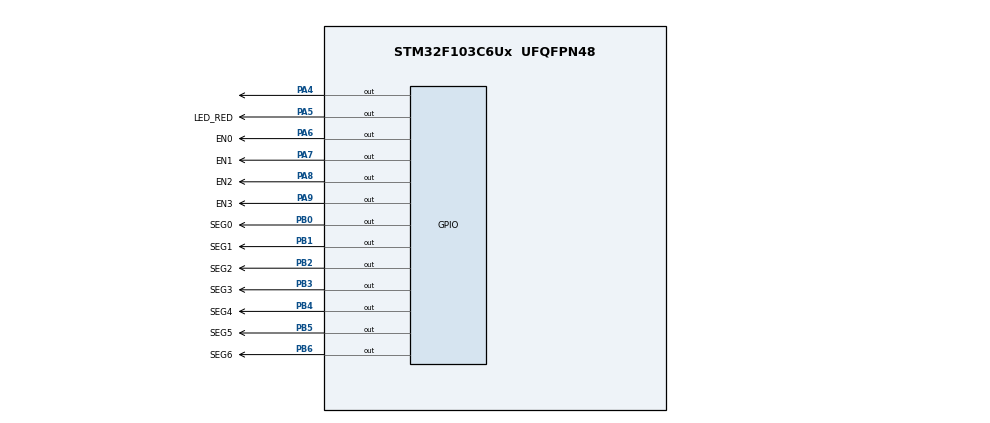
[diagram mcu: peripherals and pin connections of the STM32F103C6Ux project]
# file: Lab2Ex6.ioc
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Mcu.Family=STM32F1
Mcu.Name=STM32F103C6Ux
Mcu.Package=UFQFPN48
NVIC.PriorityGroup=NVIC_PRIORITYGROUP_4
NVIC.TIM2_IRQn=true\:0\:0\:false\:false\:true\:true\:true
PA4.Signal=GPIO_Output
PA5.GPIO_Label=LED_RED
PA5.Signal=GPIO_Output
PA6.GPIO_Label=EN0
PA6.Signal=GPIO_Output
PA7.GPIO_Label=EN1
PA7.Signal=GPIO_Output
PA8.GPIO_Label=EN2
PA8.Signal=GPIO_Output
PA9.GPIO_Label=EN3
PA9.Signal=GPIO_Output
PB0.GPIO_Label=SEG0
PB0.Signal=GPIO_Output
PB1.GPIO_Label=SEG1
PB1.Signal=GPIO_Output
PB2.GPIO_Label=SEG2
PB2.Signal=GPIO_Output
PB3.GPIO_Label=SEG3
PB3.Signal=GPIO_Output
PB4.GPIO_Label=SEG4
PB4.Signal=GPIO_Output
PB5.GPIO_Label=SEG5
PB5.Signal=GPIO_Output
PB6.GPIO_Label=SEG6
PB6.Signal=GPIO_Output
ProjectManager.HeapSize=0x200
ProjectManager.StackSize=0x400
ProjectManager.TargetToolchain=STM32CubeIDE
RCC.APB1Freq_Value=8000000
RCC.APB2Freq_Value=8000000
TIM2.Prescaler=7999
VP_SYS_VS_ND.Mode=No_Debug
VP_TIM2_VS_ClockSourceINT.Mode=Internal
board=custom

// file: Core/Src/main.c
/* USER CODE BEGIN Header */
/**
  ******************************************************************************
  * @file           : main.c
  * @brief          : Main program body
  ******************************************************************************
  * @attention
  *
  * <h2><center>&copy; Copyright (c) 2025 STMicroelectronics.
  * All rights reserved.</center></h2>
  *
  * This software component is licensed by ST under BSD 3-Clause license,
  * the "License"; You may not use this file except in compliance with the
  * License. You may obtain a copy of the License at:
  *                        opensource.org/licenses/BSD-3-Clause
  *
  ******************************************************************************
  */
/* USER CODE END Header */
#include "main.h"

TIM_HandleTypeDef htim2;

void SystemClock_Config(void);
static void MX_GPIO_Init(void);
static void MX_TIM2_Init(void);

/* USER CODE BEGIN 0 */

// 7SEG DISPLAY
void display7SEG(int num) {
	switch(num) {
		case 0:
			HAL_GPIO_WritePin(SEG0_GPIO_Port, SEG0_Pin, GPIO_PIN_RESET);
			HAL_GPIO_WritePin(SEG1_GPIO_Port, SEG1_Pin, GPIO_PIN_RESET);
			HAL_GPIO_WritePin(SEG2_GPIO_Port, SEG2_Pin, GPIO_PIN_RESET);
			HAL_GPIO_WritePin(SEG3_GPIO_Port, SEG3_Pin, GPIO_PIN_RESET);
			HAL_GPIO_WritePin(SEG4_GPIO_Port, SEG4_Pin, GPIO_PIN_RESET);
			HAL_GPIO_WritePin(SEG5_GPIO_Port, SEG5_Pin, GPIO_PIN_RESET);
			HAL_GPIO_WritePin(SEG6_GPIO_Port, SEG6_Pin, GPIO_PIN_SET);
			break;
		case 1:
			HAL_GPIO_WritePin(SEG0_GPIO_Port, SEG0_Pin, GPIO_PIN_SET);
			HAL_GPIO_WritePin(SEG1_GPIO_Port, SEG1_Pin, GPIO_PIN_RESET);
			HAL_GPIO_WritePin(SEG2_GPIO_Port, SEG2_Pin, GPIO_PIN_RESET);
			HAL_GPIO_WritePin(SEG3_GPIO_Port, SEG3_Pin, GPIO_PIN_SET);
			HAL_GPIO_WritePin(SEG4_GPIO_Port, SEG4_Pin, GPIO_PIN_SET);
			HAL_GPIO_WritePin(SEG5_GPIO_Port, SEG5_Pin, GPIO_PIN_SET);
			HAL_GPIO_WritePin(SEG6_GPIO_Port, SEG6_Pin, GPIO_PIN_SET);
			break;
		case 2:
			HAL_GPIO_WritePin(SEG0_GPIO_Port, SEG0_Pin, GPIO_PIN_RESET);
			HAL_GPIO_WritePin(SEG1_GPIO_Port, SEG1_Pin, GPIO_PIN_RESET);
			HAL_GPIO_WritePin(SEG2_GPIO_Port, SEG2_Pin, GPIO_PIN_SET);
			HAL_GPIO_WritePin(SEG3_GPIO_Port, SEG3_Pin, GPIO_PIN_RESET);
			HAL_GPIO_WritePin(SEG4_GPIO_Port, SEG4_Pin, GPIO_PIN_RESET);
			HAL_GPIO_WritePin(SEG5_GPIO_Port, SEG5_Pin, GPIO_PIN_SET);
			HAL_GPIO_WritePin(SEG6_GPIO_Port, SEG6_Pin, GPIO_PIN_RESET);
			break;
		case 3:
			HAL_GPIO_WritePin(SEG0_GPIO_Port, SEG0_Pin, GPIO_PIN_RESET);
			HAL_GPIO_WritePin(SEG1_GPIO_Port, SEG1_Pin, GPIO_PIN_RESET);
			HAL_GPIO_WritePin(SEG2_GPIO_Port, SEG2_Pin, GPIO_PIN_RESET);
			HAL_GPIO_WritePin(SEG3_GPIO_Port, SEG3_Pin, GPIO_PIN_RESET);
			HAL_GPIO_WritePin(SEG4_GPIO_Port, SEG4_Pin, GPIO_PIN_SET);
			HAL_GPIO_WritePin(SEG5_GPIO_Port, SEG5_Pin, GPIO_PIN_SET);
			HAL_GPIO_WritePin(SEG6_GPIO_Port, SEG6_Pin, GPIO_PIN_RESET);
			break;
		case 4:
			HAL_GPIO_WritePin(SEG0_GPIO_Port, SEG0_Pin, GPIO_PIN_SET);
			HAL_GPIO_WritePin(SEG1_GPIO_Port, SEG1_Pin, GPIO_PIN_RESET);
			HAL_GPIO_WritePin(SEG2_GPIO_Port, SEG2_Pin, GPIO_PIN_RESET);
			HAL_GPIO_WritePin(SEG3_GPIO_Port, SEG3_Pin, GPIO_PIN_SET);
			HAL_GPIO_WritePin(SEG4_GPIO_Port, SEG4_Pin, GPIO_PIN_SET);
			HAL_GPIO_WritePin(SEG5_GPIO_Port, SEG5_Pin, GPIO_PIN_RESET);
			HAL_GPIO_WritePin(SEG6_GPIO_Port, SEG6_Pin, GPIO_PIN_RESET);
			break;
		case 5:
			HAL_GPIO_WritePin(SEG0_GPIO_Port, SEG0_Pin, GPIO_PIN_RESET);
			HAL_GPIO_WritePin(SEG1_GPIO_Port, SEG1_Pin, GPIO_PIN_SET);
			HAL_GPIO_WritePin(SEG2_GPIO_Port, SEG2_Pin, GPIO_PIN_RESET);
			HAL_GPIO_WritePin(SEG3_GPIO_Port, SEG3_Pin, GPIO_PIN_RESET);
			HAL_GPIO_WritePin(SEG4_GPIO_Port, SEG4_Pin, GPIO_PIN_SET);
			HAL_GPIO_WritePin(SEG5_GPIO_Port, SEG5_Pin, GPIO_PIN_RESET);
			HAL_GPIO_WritePin(SEG6_GPIO_Port, SEG6_Pin, GPIO_PIN_RESET);
			break;
		case 6:
			HAL_GPIO_WritePin(SEG0_GPIO_Port, SEG0_Pin, GPIO_PIN_RESET);
			HAL_GPIO_WritePin(SEG1_GPIO_Port, SEG1_Pin, GPIO_PIN_SET);
			HAL_GPIO_WritePin(SEG2_GPIO_Port, SEG2_Pin, GPIO_PIN_RESET);
			HAL_GPIO_WritePin(SEG3_GPIO_Port, SEG3_Pin, GPIO_PIN_RESET);
			HAL_GPIO_WritePin(SEG4_GPIO_Port, SEG4_Pin, GPIO_PIN_RESET);
			HAL_GPIO_WritePin(SEG5_GPIO_Port, SEG5_Pin, GPIO_PIN_RESET);
			HAL_GPIO_WritePin(SEG6_GPIO_Port, SEG6_Pin, GPIO_PIN_RESET);
			break;
		case 7:
			HAL_GPIO_WritePin(SEG0_GPIO_Port, SEG0_Pin, GPIO_PIN_RESET);
			HAL_GPIO_WritePin(SEG1_GPIO_Port, SEG1_Pin, GPIO_PIN_RESET);
			HAL_GPIO_WritePin(SEG2_GPIO_Port, SEG2_Pin, GPIO_PIN_RESET);
			HAL_GPIO_WritePin(SEG3_GPIO_Port, SEG3_Pin, GPIO_PIN_SET);
			HAL_GPIO_WritePin(SEG4_GPIO_Port, SEG4_Pin, GPIO_PIN_SET);
			HAL_GPIO_WritePin(SEG5_GPIO_Port, SEG5_Pin, GPIO_PIN_SET);
			HAL_GPIO_WritePin(SEG6_GPIO_Port, SEG6_Pin, GPIO_PIN_SET);
			break;
		case 8:
			HAL_GPIO_WritePin(SEG0_GPIO_Port, SEG0_Pin, GPIO_PIN_RESET);
			HAL_GPIO_WritePin(SEG1_GPIO_Port, SEG1_Pin, GPIO_PIN_RESET);
			HAL_GPIO_WritePin(SEG2_GPIO_Port, SEG2_Pin, GPIO_PIN_RESET);
			HAL_GPIO_WritePin(SEG3_GPIO_Port, SEG3_Pin, GPIO_PIN_RESET);
			HAL_GPIO_WritePin(SEG4_GPIO_Port, SEG4_Pin, GPIO_PIN_RESET);
			HAL_GPIO_WritePin(SEG5_GPIO_Port, SEG5_Pin, GPIO_PIN_RESET);
			HAL_GPIO_WritePin(SEG6_GPIO_Port, SEG6_Pin, GPIO_PIN_RESET);
			break;
		case 9:
			HAL_GPIO_WritePin(SEG0_GPIO_Port, SEG0_Pin, GPIO_PIN_RESET);
			HAL_GPIO_WritePin(SEG1_GPIO_Port, SEG1_Pin, GPIO_PIN_RESET);
			HAL_GPIO_WritePin(SEG2_GPIO_Port, SEG2_Pin, GPIO_PIN_RESET);
			HAL_GPIO_WritePin(SEG3_GPIO_Port, SEG3_Pin, GPIO_PIN_RESET);
			HAL_GPIO_WritePin(SEG4_GPIO_Port, SEG4_Pin, GPIO_PIN_SET);
			HAL_GPIO_WritePin(SEG5_GPIO_Port, SEG5_Pin, GPIO_PIN_RESET);
			HAL_GPIO_WritePin(SEG6_GPIO_Port, SEG6_Pin, GPIO_PIN_RESET);
			break;
		default:
			HAL_GPIO_WritePin(SEG0_GPIO_Port, SEG0_Pin, GPIO_PIN_SET);
			HAL_GPIO_WritePin(SEG1_GPIO_Port, SEG1_Pin, GPIO_PIN_SET);
			HAL_GPIO_WritePin(SEG2_GPIO_Port, SEG2_Pin, GPIO_PIN_SET);
			HAL_GPIO_WritePin(SEG3_GPIO_Port, SEG3_Pin, GPIO_PIN_SET);
			HAL_GPIO_WritePin(SEG4_GPIO_Port, SEG4_Pin, GPIO_PIN_SET);
			HAL_GPIO_WritePin(SEG5_GPIO_Port, SEG5_Pin, GPIO_PIN_SET);
			HAL_GPIO_WritePin(SEG6_GPIO_Port, SEG6_Pin, GPIO_PIN_SET);
	};
};

const int MAX_LED = 4;
int index_led = 0;
int led_buffer[4] = {1, 2, 3, 4};

void update7SEG(int index)
{
	switch(index)
	{
	case 0:
		//Display the first 7SEG with led_buffer[0]
		display7SEG(led_buffer[0]);
		HAL_GPIO_WritePin(EN0_GPIO_Port, EN0_Pin, GPIO_PIN_RESET);
		HAL_Delay(250);
		HAL_GPIO_WritePin(EN0_GPIO_Port, EN0_Pin, GPIO_PIN_SET);
		break;

	case 1:
		//Display the second 7SEG with led_buffer[1]
		display7SEG(led_buffer[1]);
		HAL_GPIO_WritePin(EN1_GPIO_Port, EN1_Pin, GPIO_PIN_RESET);
		HAL_Delay(250);
		HAL_GPIO_WritePin(EN1_GPIO_Port, EN1_Pin, GPIO_PIN_SET);
		break;

	case 2:
		//Display the third 7SEG with led_buffer[2]
		display7SEG(led_buffer[2]);
		HAL_GPIO_WritePin(EN2_GPIO_Port, EN2_Pin, GPIO_PIN_RESET);
		HAL_Delay(250);
		HAL_GPIO_WritePin(EN2_GPIO_Port, EN2_Pin, GPIO_PIN_SET);
		break;

	case 3:
		//Display the forth 7SEG with led_buffer[3]
		display7SEG(led_buffer[3]);
		HAL_GPIO_WritePin(EN3_GPIO_Port, EN3_Pin, GPIO_PIN_RESET);
		HAL_Delay(250);
		HAL_GPIO_WritePin(EN3_GPIO_Port, EN3_Pin, GPIO_PIN_SET);
		break;

	default:
		break;

	};
};

// HOUR, MINUTE , SECOND
int hour = 15, minute = 8, second = 50;

void updateClockBuffer()
{
	led_buffer[0] = hour / 10;
	led_buffer[1] = hour % 10;
	led_buffer[2] = minute / 10;
	led_buffer[3] = minute % 10;
};

// SOFTWARE TIMER
int timer0_counter = 0;
int timer0_flag = 0;
int TIMER_CYCLE = 10; // 10ms timer cycle

void setTimer0(int duration)
{
	timer0_counter = duration / TIMER_CYCLE;
	timer0_flag = 0;

}

void timer_run()
{
	if(timer0_counter > 0)
	{
		timer0_counter--;
	}

	if(timer0_counter == 0) timer0_flag = 1;
}

/* USER CODE END 0 */

int main(void)
{

  /* MCU Configuration--------------------------------------------------------*/

  /* Reset of all peripherals, Initializes the Flash interface and the Systick. */
  HAL_Init();

  /* Configure the system clock */
  SystemClock_Config();

  /* Initialize all configured peripherals */
  MX_GPIO_Init();
  MX_TIM2_Init();
  /* USER CODE BEGIN 2 */

  setTimer0(1000);

  /* USER CODE END 2 */

  /* Infinite loop */
  while (1)
  {

    /* USER CODE BEGIN 3 */

	  if(timer0_flag == 1)
	  {
		  HAL_GPIO_TogglePin(LED_RED_GPIO_Port, LED_RED_Pin);
		  setTimer0(2000);
	  }
  }
  /* USER CODE END 3 */
}

void SystemClock_Config(void)
{
  RCC_OscInitTypeDef RCC_OscInitStruct = {0};
  RCC_ClkInitTypeDef RCC_ClkInitStruct = {0};

  /** Initializes the RCC Oscillators according to the specified parameters
  * in the RCC_OscInitTypeDef structure.
  */
  RCC_OscInitStruct.OscillatorType = RCC_OSCILLATORTYPE_HSI;
  RCC_OscInitStruct.HSIState = RCC_HSI_ON;
  RCC_OscInitStruct.HSICalibrationValue = RCC_HSICALIBRATION_DEFAULT;
  RCC_OscInitStruct.PLL.PLLState = RCC_PLL_NONE;
  if (HAL_RCC_OscConfig(&RCC_OscInitStruct) != HAL_OK)
  {
    Error_Handler();
  }
  /** Initializes the CPU, AHB and APB buses clocks
  */
  RCC_ClkInitStruct.ClockType = RCC_CLOCKTYPE_HCLK|RCC_CLOCKTYPE_SYSCLK
                              |RCC_CLOCKTYPE_PCLK1|RCC_CLOCKTYPE_PCLK2;
  RCC_ClkInitStruct.SYSCLKSource = RCC_SYSCLKSOURCE_HSI;
  RCC_ClkInitStruct.AHBCLKDivider = RCC_SYSCLK_DIV1;
  RCC_ClkInitStruct.APB1CLKDivider = RCC_HCLK_DIV1;
  RCC_ClkInitStruct.APB2CLKDivider = RCC_HCLK_DIV1;

  if (HAL_RCC_ClockConfig(&RCC_ClkInitStruct, FLASH_LATENCY_0) != HAL_OK)
  {
    Error_Handler();
  }
}

static void MX_TIM2_Init(void)
{

  TIM_ClockConfigTypeDef sClockSourceConfig = {0};
  TIM_MasterConfigTypeDef sMasterConfig = {0};

  htim2.Instance = TIM2;
  htim2.Init.Prescaler = 7999;
  htim2.Init.CounterMode = TIM_COUNTERMODE_UP;
  htim2.Init.Period = 65535;
  htim2.Init.ClockDivision = TIM_CLOCKDIVISION_DIV1;
  htim2.Init.AutoReloadPreload = TIM_AUTORELOAD_PRELOAD_DISABLE;
  if (HAL_TIM_Base_Init(&htim2) != HAL_OK)
  {
    Error_Handler();
  }
  sClockSourceConfig.ClockSource = TIM_CLOCKSOURCE_INTERNAL;
  if (HAL_TIM_ConfigClockSource(&htim2, &sClockSourceConfig) != HAL_OK)
  {
    Error_Handler();
  }
  sMasterConfig.MasterOutputTrigger = TIM_TRGO_RESET;
  sMasterConfig.MasterSlaveMode = TIM_MASTERSLAVEMODE_DISABLE;
  if (HAL_TIMEx_MasterConfigSynchronization(&htim2, &sMasterConfig) != HAL_OK)
  {
    Error_Handler();
  }

}

static void MX_GPIO_Init(void)
{
  GPIO_InitTypeDef GPIO_InitStruct = {0};

  /* GPIO Ports Clock Enable */
  __HAL_RCC_GPIOA_CLK_ENABLE();
  __HAL_RCC_GPIOB_CLK_ENABLE();

  /*Configure GPIO pin Output Level */
  HAL_GPIO_WritePin(GPIOA, GPIO_PIN_4|LED_RED_Pin|EN0_Pin|EN1_Pin
                          |EN2_Pin|EN3_Pin, GPIO_PIN_RESET);

  /*Configure GPIO pin Output Level */
  HAL_GPIO_WritePin(GPIOB, SEG0_Pin|SEG1_Pin|SEG2_Pin|SEG3_Pin
                          |SEG4_Pin|SEG5_Pin|SEG6_Pin, GPIO_PIN_RESET);

  /*Configure GPIO pins : PA4 LED_RED_Pin EN0_Pin EN1_Pin
                           EN2_Pin EN3_Pin */
  GPIO_InitStruct.Pin = GPIO_PIN_4|LED_RED_Pin|EN0_Pin|EN1_Pin
                          |EN2_Pin|EN3_Pin;
  GPIO_InitStruct.Mode = GPIO_MODE_OUTPUT_PP;
  GPIO_InitStruct.Pull = GPIO_NOPULL;
  GPIO_InitStruct.Speed = GPIO_SPEED_FREQ_LOW;
  HAL_GPIO_Init(GPIOA, &GPIO_InitStruct);

  /*Configure GPIO pins : SEG0_Pin SEG1_Pin SEG2_Pin SEG3_Pin
                           SEG4_Pin SEG5_Pin SEG6_Pin */
  GPIO_InitStruct.Pin = SEG0_Pin|SEG1_Pin|SEG2_Pin|SEG3_Pin
                          |SEG4_Pin|SEG5_Pin|SEG6_Pin;
  GPIO_InitStruct.Mode = GPIO_MODE_OUTPUT_PP;
  GPIO_InitStruct.Pull = GPIO_NOPULL;
  GPIO_InitStruct.Speed = GPIO_SPEED_FREQ_LOW;
  HAL_GPIO_Init(GPIOB, &GPIO_InitStruct);

}

/* USER CODE BEGIN 4 */

void HAL_TIM_PeriodElapsedCallback(TIM_HandleTypeDef *htim)
{
	timer_run();

	// OTHER CODE
}

/* USER CODE END 4 */

void Error_Handler(void)
{
  __disable_irq();
  while (1)
  {
  }
}

/************************ (C) COPYRIGHT STMicroelectronics *****END OF FILE****/
